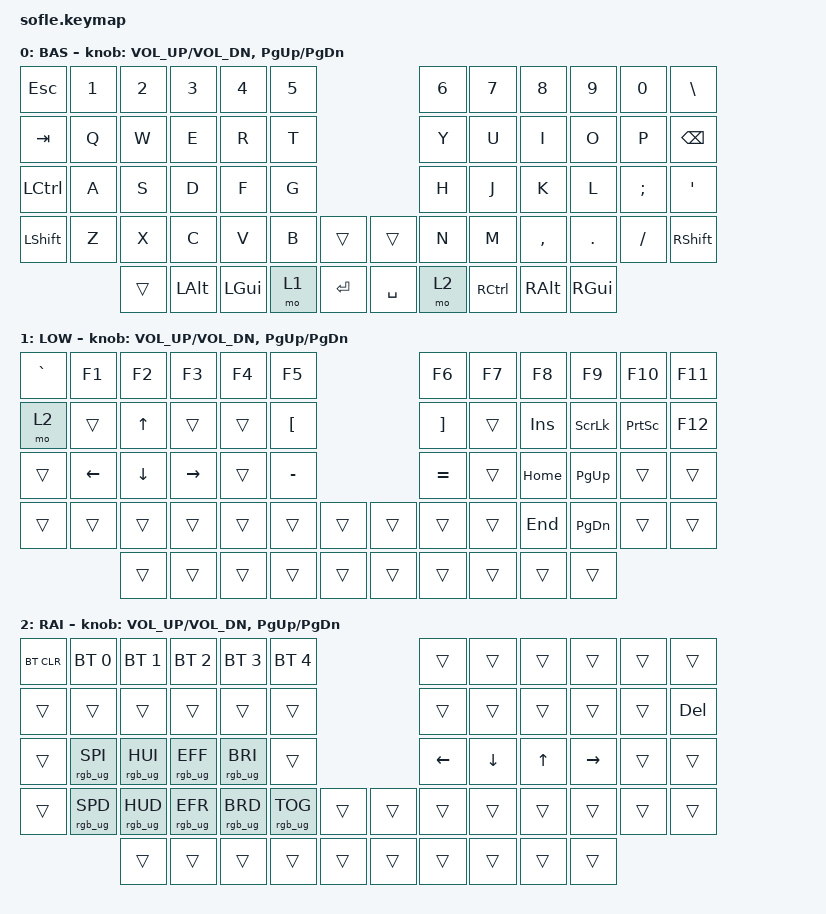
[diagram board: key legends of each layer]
/*
 * Copyright (c) 2020 The ZMK Contributors
 *
 * SPDX-License-Identifier: MIT
 */

#include <behaviors.dtsi>
#include <dt-bindings/zmk/bt.h>
#include <dt-bindings/zmk/ext_power.h>
#include <dt-bindings/zmk/keys.h>
#include <dt-bindings/led/led.h>
#include <dt-bindings/zmk/backlight.h>
#include <dt-bindings/zmk/rgb.h>
#include <dt-bindings/zmk/reset.h>

&nice_view_spi {
    cs-gpios = <&gpio1 1 GPIO_ACTIVE_HIGH>;
};

&pinctrl {
    spi3_default: spi3_default {
        group1 {
            psels = <NRF_PSEL(SPIM_MOSI, 0, 6)>;
        };
    };

    spi3_sleep: spi3_sleep {
        group1 {
            psels = <NRF_PSEL(SPIM_MOSI, 0, 6)>;
            low-power-enable;
        };
    };
};

&spi3 {
    compatible = "nordic,nrf-spim";
    status = "okay";

    pinctrl-0 = <&spi3_default>;
    pinctrl-1 = <&spi3_sleep>;
    pinctrl-names = "default", "sleep";

    led_strip: ws2812@0 {
        compatible = "worldsemi,ws2812-spi";

        /* SPI */
        reg = <0>; /* ignored, but necessary for SPI bindings */
        spi-max-frequency = <4000000>;

        /* WS2812 */
        chain-length = <29>; /* arbitrary; change at will */
        spi-one-frame = <0x70>;
        spi-zero-frame = <0x40>;

        color-mapping = <
            LED_COLOR_ID_GREEN
            LED_COLOR_ID_RED
            LED_COLOR_ID_BLUE
        >;
    };
};

/ {
    chosen {
        zmk,underglow = &led_strip;
    };
};

/ {
    keymap {
        compatible = "zmk,keymap";

        default_layer {
            display-name = "BAS";
            // -------------------------------------------------------------------------------------------------------------
            // |  ESC  |  1  |  2   |  3   |  4   |  5   |                   |  6   |  7    |  8    |  9   |   0   |   \   |
            // |  TAB  |  Q  |  W   |  E   |  R   |  T   |                   |  Y   |  U    |  I    |  O   |   P   | BKSPC |
            // |  CTRL |  A  |  S   |  D   |  F   |  G   |                   |  H   |  J    |  K    |  L   |   ;   |   '   |
            // | SHIFT |  Z  |  X   |  C   |  V   |  B   |        |  |       |  N   |  M    |  ,    |  .   |   /   | SHIFT |
            //               |      | ALT  | GUI  | LOWER|  ENTER |  | SPACE | RAISE| CTRL  | ALT   | GUI  |

            bindings = <
&kp ESC    &kp N1  &kp N2    &kp N3    &kp N4     &kp N5                             &kp N6  &kp N7     &kp N8     &kp N9    &kp N0    &kp BSLH
&kp TAB    &kp Q   &kp W     &kp E     &kp R      &kp T                              &kp Y   &kp U      &kp I      &kp O     &kp P     &kp BSPC
&kp LCTRL  &kp A   &kp S     &kp D     &kp F      &kp G                              &kp H   &kp J      &kp K      &kp L     &kp SEMI  &kp SQT
&kp LSHFT  &kp Z   &kp X     &kp C     &kp V      &kp B   &trans        &trans       &kp N   &kp M      &kp COMMA  &kp DOT   &kp FSLH  &kp RSHFT
                   &trans    &kp LALT  &kp LGUI   &mo 1   &kp RET       &kp SPACE    &mo 2   &kp RCTRL  &kp RALT   &kp RGUI
            >;

            sensor-bindings = <&inc_dec_kp C_VOL_UP C_VOL_DN &inc_dec_kp PG_UP PG_DN>;
        };

        lower_layer {
            display-name = "LOW";
            // --------------------------------------------------------------------------------------------------------------
            // | `     |  F1 |  F2 |  F3  |  F4  |  F5  |                   |  F6  |  F7   |  F8   |  F9    |  F10  |  F11  |
            // | RAISE |     |  ^  |      |      |  {   |                   |  }   |       |  INS  |  SLCK  |  PSCR |  F12  |
            // |       |  <- |  v  |  ->  |      |  -   |                   |  +   |       |  HOME |  PG_UP |       |       |
            // |       |     |     |      |      |      |        |  |       |      |       |  END  |  PG_DN |       |       |
            //               |     |      |      |      |        |  |       |      |       |       |        |

            bindings = <
&kp GRAVE  &kp F1     &kp F2     &kp F3       &kp F4    &kp F5                       &kp F6     &kp F7    &kp F8    &kp F9     &kp F10   &kp F11
&mo 2      &trans     &kp UP     &trans       &trans    &kp LBKT                     &kp RBKT   &trans    &kp INS   &kp SLCK   &kp PSCRN &kp F12
&trans     &kp LEFT   &kp DOWN   &kp RIGHT    &trans    &kp MINUS                    &kp EQUAL  &trans    &kp HOME  &kp PG_UP  &trans    &trans
&trans     &trans     &trans     &trans       &trans    &trans     &trans    &trans  &trans     &trans    &kp END   &kp PG_DN  &trans    &trans
                      &trans     &trans       &trans    &trans     &trans    &trans  &trans     &trans    &trans    &trans
            >;

            sensor-bindings = <&inc_dec_kp C_VOL_UP C_VOL_DN &inc_dec_kp PG_UP PG_DN>;
        };

        raise_layer {
            display-name = "RAI";
            // ----------------------------------------------------------------------------------------------------------
            // |BTCLR| BT1  | BT2  |  BT3  |  BT4  |  BT5 |                |      |      |       |      |       |       |
            // |     |      |      |       |       |      |                |      |      |       |      |       |  DEL  |
            // |     |      |      |       |       |      |                |      |      |       |      |       |       |
            // |     |      |      |       |       |      |      |  |      |      |      |       |      |       |       |
            //              |      |       |       |      |      |  |      |      |      |       |      |

            bindings = <
&bt BT_CLR  &bt BT_SEL 0    &bt BT_SEL 1    &bt BT_SEL 2    &bt BT_SEL 3    &bt BT_SEL 4                       &trans    &trans    &trans    &trans     &trans   &trans
&trans      &trans          &trans          &trans          &trans          &trans                             &trans    &trans    &trans    &trans     &trans   &kp DEL
&trans      &rgb_ug RGB_SPI &rgb_ug RGB_HUI &rgb_ug RGB_EFF &rgb_ug RGB_BRI &trans                             &kp LEFT  &kp DOWN  &kp UP    &kp RIGHT  &trans   &trans
&trans      &rgb_ug RGB_SPD &rgb_ug RGB_HUD &rgb_ug RGB_EFR &rgb_ug RGB_BRD &rgb_ug RGB_TOG  &trans    &trans  &trans    &trans    &trans    &trans     &trans   &trans
                            &trans          &trans          &trans          &trans           &trans    &trans  &trans    &trans    &trans  &trans
            >;

            sensor-bindings = <&inc_dec_kp C_VOL_UP C_VOL_DN &inc_dec_kp PG_UP PG_DN>;
        };
    };
};
